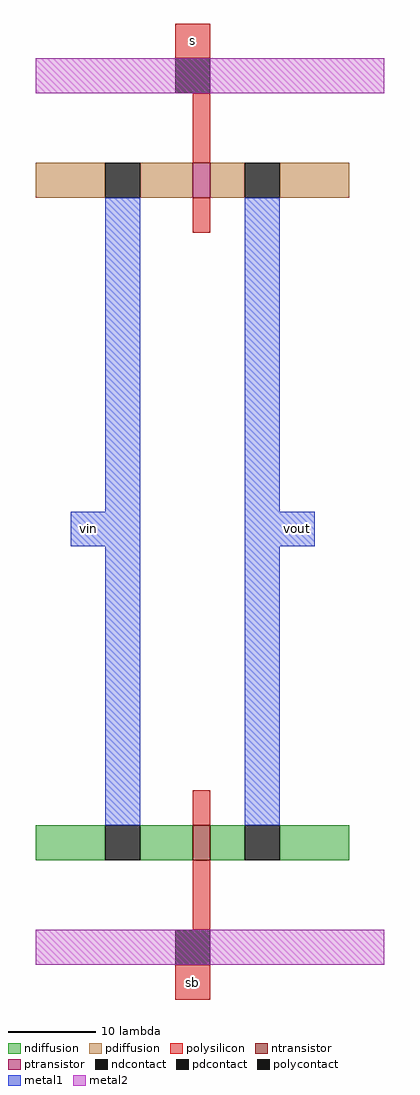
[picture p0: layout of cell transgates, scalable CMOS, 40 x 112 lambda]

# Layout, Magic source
magic
tech scmos
<< polysilicon >>
rect 16 104 20 108
rect 18 92 20 100
rect 18 84 20 88
rect 18 16 20 20
rect 18 4 20 12
rect 16 -4 20 0
<< ndiffusion >>
rect 0 12 8 16
rect 12 12 18 16
rect 20 12 24 16
rect 28 12 36 16
<< pdiffusion >>
rect 0 88 8 92
rect 12 88 18 92
rect 20 88 24 92
rect 28 88 36 92
<< metal1 >>
rect 8 52 12 88
rect 4 48 12 52
rect 8 16 12 48
rect 24 52 28 88
rect 24 48 32 52
rect 24 16 28 48
<< metal2 >>
rect 0 100 40 104
rect 0 0 40 4
<< ntransistor >>
rect 18 12 20 16
<< ptransistor >>
rect 18 88 20 92
<< polycontact >>
rect 16 100 20 104
rect 16 0 20 4
<< ndcontact >>
rect 8 12 12 16
rect 24 12 28 16
<< pdcontact >>
rect 8 88 12 92
rect 24 88 28 92
<< labels >>
rlabel polysilicon 18 106 18 106 5 s
rlabel polysilicon 18 -2 18 -2 1 sb
rlabel metal1 6 50 6 50 1 vin
rlabel metal1 30 50 30 50 1 vout
<< end >>
